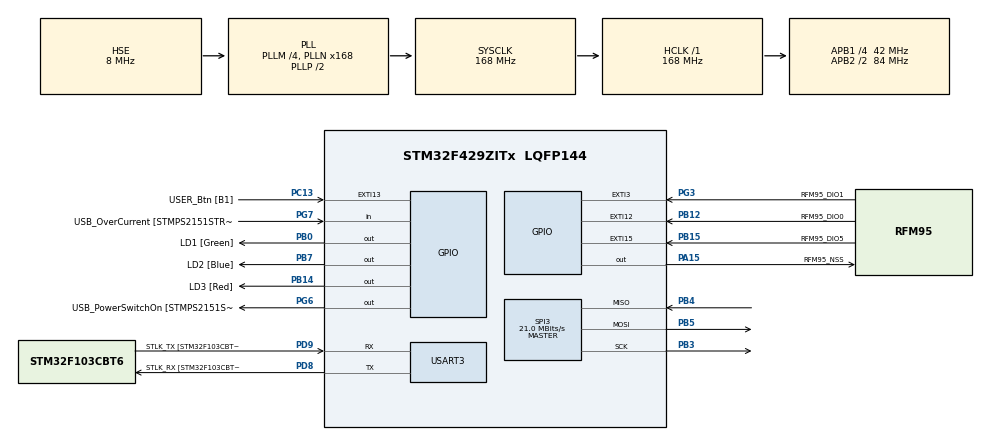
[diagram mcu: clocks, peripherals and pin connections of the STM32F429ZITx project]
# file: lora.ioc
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Mcu.Family=STM32F4
Mcu.Name=STM32F429ZITx
Mcu.Package=LQFP144
NVIC.EXTI15_10_IRQn=true\:0\:0\:false\:false\:true\:true\:true\:true
NVIC.EXTI3_IRQn=true\:0\:0\:false\:false\:true\:true\:true\:true
NVIC.PriorityGroup=NVIC_PRIORITYGROUP_4
NVIC.SPI3_IRQn=true\:0\:0\:false\:false\:true\:true\:true\:true
PA1.GPIO_Label=RMII_REF_CLK [LAN8742A-CZ-TR_REFCLK0]
PA1.Signal=ETH_REF_CLK
PA10.GPIO_Label=USB_ID
PA10.Signal=USB_OTG_FS_ID
PA11.GPIO_Label=USB_DM
PA11.Signal=USB_OTG_FS_DM
PA12.GPIO_Label=USB_DP
PA12.Signal=USB_OTG_FS_DP
PA13.GPIO_Label=TMS
PA13.Mode=Serial_Wire
PA13.Signal=SYS_JTMS-SWDIO
PA14.GPIO_Label=TCK
PA14.Mode=Serial_Wire
PA14.Signal=SYS_JTCK-SWCLK
PA15.GPIO_Label=RFM95_NSS
PA15.Signal=GPIO_Output
PA2.GPIO_Label=RMII_MDIO [LAN8742A-CZ-TR_MDIO]
PA2.Signal=ETH_MDIO
PA7.GPIO_Label=RMII_CRS_DV [LAN8742A-CZ-TR_CRS_DV]
PA7.Signal=ETH_CRS_DV
PA8.GPIO_Label=USB_SOF [TP1]
PA8.Signal=USB_OTG_FS_SOF
PA9.GPIO_Label=USB_VBUS
PA9.Signal=USB_OTG_FS_VBUS
PB0.GPIO_Label=LD1 [Green]
PB0.Signal=GPIO_Output
PB12.GPIO_Label=RFM95_DIO0
PB12.Signal=GPXTI12
PB13.GPIO_Label=RMII_TXD1 [LAN8742A-CZ-TR_TXD1]
PB13.Signal=ETH_TXD1
PB14.GPIO_Label=LD3 [Red]
PB14.Signal=GPIO_Output
PB15.GPIO_Label=RFM95_DIO5
PB15.Signal=GPXTI15
PB3.Mode=Full_Duplex_Master
PB3.Signal=SPI3_SCK
PB4.Mode=Full_Duplex_Master
PB4.Signal=SPI3_MISO
PB5.Mode=Full_Duplex_Master
PB5.Signal=SPI3_MOSI
PB7.GPIO_Label=LD2 [Blue]
PB7.Signal=GPIO_Output
PC1.GPIO_Label=RMII_MDC [LAN8742A-CZ-TR_MDC]
PC1.Signal=ETH_MDC
PC13.GPIO_Label=USER_Btn [B1]
PC13.Signal=GPXTI13
PC14/OSC32_IN.Mode=LSE-External-Oscillator
PC14/OSC32_IN.Signal=RCC_OSC32_IN
PC15/OSC32_OUT.Mode=LSE-External-Oscillator
PC15/OSC32_OUT.Signal=RCC_OSC32_OUT
PC4.GPIO_Label=RMII_RXD0 [LAN8742A-CZ-TR_RXD0]
PC4.Signal=ETH_RXD0
PC5.GPIO_Label=RMII_RXD1 [LAN8742A-CZ-TR_RXD1]
PC5.Signal=ETH_RXD1
PD8.GPIO_Label=STLK_RX [STM32F103CBT6_PA3]
PD8.Mode=Asynchronous
PD8.Signal=USART3_TX
PD9.GPIO_Label=STLK_TX [STM32F103CBT6_PA2]
PD9.Mode=Asynchronous
PD9.Signal=USART3_RX
PG11.GPIO_Label=RMII_TX_EN [LAN8742A-CZ-TR_TXEN]
PG11.Signal=ETH_TX_EN
PG13.GPIO_Label=RMII_TXD0 [LAN8742A-CZ-TR_TXD0]
PG13.Signal=ETH_TXD0
PG3.GPIO_Label=RFM95_DIO1
PG3.Signal=GPXTI3
PG6.GPIO_Label=USB_PowerSwitchOn [STMPS2151STR_EN]
PG6.Signal=GPIO_Output
PG7.GPIO_Label=USB_OverCurrent [STMPS2151STR_FAULT]
PG7.Signal=GPIO_Input
PH0/OSC_IN.GPIO_Label=MCO [STM32F103CBT6_PA8]
PH0/OSC_IN.Mode=HSE-External-Clock-Source
PH0/OSC_IN.Signal=RCC_OSC_IN
PH1/OSC_OUT.Mode=HSE-External-Clock-Source
PH1/OSC_OUT.Signal=RCC_OSC_OUT
ProjectManager.HeapSize=0x200
ProjectManager.StackSize=0x400
ProjectManager.TargetToolchain=STM32CubeIDE
RCC.48MHZClocksFreq_Value=48000000
RCC.AHBFreq_Value=168000000
RCC.APB1CLKDivider=RCC_HCLK_DIV4
RCC.APB1Freq_Value=42000000
RCC.APB1TimFreq_Value=84000000
RCC.APB2CLKDivider=RCC_HCLK_DIV2
RCC.APB2Freq_Value=84000000
RCC.APB2TimCLKDivider=2
RCC.APB2TimFreq_Value=168000000
RCC.CortexFreq_Value=168000000
RCC.HCLKFreq_Value=168000000
RCC.HSE_VALUE=8000000
RCC.HSI_VALUE=16000000
RCC.PLLM=4
RCC.PLLMUL=RCC_PLL_MUL9
RCC.PLLN=168
RCC.PLLQ=7
RCC.PLLSourceVirtual=RCC_PLLSOURCE_HSE
RCC.PRESCALERUSB=RCC_USBCLKSOURCE_PLL_DIV1_5
RCC.SYSCLKFreq_VALUE=168000000
RCC.SYSCLKSource=RCC_SYSCLKSOURCE_PLLCLK
RCC.SYSCLKSourceVirtual=RCC_SYSCLKSOURCE_PLLCLK
RCC.USBFreq_Value=48000000
RCC.VCOOutputFreq_Value=336000000
SPI3.CalculateBaudRate=21.0 MBits/s
SPI3.Direction=SPI_DIRECTION_2LINES
SPI3.Mode=SPI_MODE_MASTER
SPI3.VirtualType=VM_MASTER
TIM2.AutoReloadPreload=TIM_AUTORELOAD_PRELOAD_DISABLE
TIM2.Prescaler=4199
USART3.VirtualMode=VM_ASYNC
VP_RNG_VS_RNG.Mode=RNG_Activate
VP_TIM2_VS_ClockSourceINT.Mode=Internal
board=NUCLEO-F429ZI

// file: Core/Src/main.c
/* USER CODE BEGIN Header */
/**
 ******************************************************************************
 * @file           : main.c
 * @brief          : Main program body
 ******************************************************************************
 * @attention
 *
 * Copyright (c) 2025 STMicroelectronics.
 * All rights reserved.
 *
 * This software is licensed under terms that can be found in the LICENSE file
 * in the root directory of this software component.
 * If no LICENSE file comes with this software, it is provided AS-IS.
 *
 ******************************************************************************
 */
/* USER CODE END Header */
#include "main.h"

/* USER CODE BEGIN Includes */
#include "rfm95.h"
#include <string.h>
#include <stdio.h>
/* USER CODE END Includes */

/* USER CODE BEGIN PD */
#define RFM95_SPI_TIMEOUT 100
/* USER CODE END PD */

RNG_HandleTypeDef hrng;

SPI_HandleTypeDef hspi3;

TIM_HandleTypeDef htim2;

UART_HandleTypeDef huart3;

void SystemClock_Config(void);
static void MX_GPIO_Init(void);
static void MX_USART3_UART_Init(void);
static void MX_SPI3_Init(void);
static void MX_TIM2_Init(void);
static void MX_RNG_Init(void);

/* USER CODE BEGIN 0 */
/* USER CODE BEGIN 0 */
#include "rfm95.h"
#include <string.h>
#include <stdio.h>

extern TIM_HandleTypeDef htim2;
extern SPI_HandleTypeDef hspi3;
extern RNG_HandleTypeDef hrng;

rfm95_handle_t rfm95_handle;

volatile uint8_t send_blocked = 0;
volatile uint32_t send_blocked_until = 0;

/* USER CODE BEGIN 0 */

/* USER CODE BEGIN 0 */

static uint32_t get_precision_tick(void)
{
	return (uint32_t)__HAL_TIM_GET_COUNTER(&htim2);
}

static void precision_sleep_until(uint32_t target_ticks)
{
	while ((int32_t)(get_precision_tick() - (int32_t)target_ticks) < 0) {
		__NOP();
	}
}

static uint8_t random_int(uint8_t max)
{
#ifdef USE_RNG
	uint32_t rnd;
	HAL_RNG_GenerateRandomNumber(&hrng, &rnd);
	return (uint8_t)(rnd % (max + 1));
#else
	return (uint8_t)(HAL_GetTick() % (max + 1));
#endif
}

static uint8_t get_battery_level(void)
{
	return 0xFF;
}
/* USER CODE END 0 */

/* USER CODE END 0 */

int main(void)
{

	/* MCU Configuration--------------------------------------------------------*/

	/* Reset of all peripherals, Initializes the Flash interface and the Systick. */
	HAL_Init();

	/* Configure the system clock */
	SystemClock_Config();

	/* Initialize all configured peripherals */
	MX_GPIO_Init();
	MX_USART3_UART_Init();
	MX_SPI3_Init();
	MX_TIM2_Init();
	MX_RNG_Init();
	/* USER CODE BEGIN 2 */
	/* USER CODE BEGIN 2 */

	/* USER CODE BEGIN 2 */

	HAL_TIM_Base_Start(&htim2);

	memset(&rfm95_handle, 0, sizeof(rfm95_handle));
	rfm95_handle.spi_handle = &hspi3;
	rfm95_handle.nss_port = RFM95_NSS_GPIO_Port;
	rfm95_handle.nss_pin  = RFM95_NSS_Pin;
	rfm95_handle.nrst_port = NULL;
	rfm95_handle.nrst_pin  = 0;

	uint8_t devaddr[4] = { 0x26, 0x0B, 0x04, 0x79 };
	uint8_t nwkSKey[16] = { 0x80, 0x70, 0x52, 0xDA, 0x22, 0x5F, 0x54, 0xC3, 0xB8,
			0xDC, 0xAD, 0xA1, 0x8A, 0xF2, 0x85, 0x34 };
	uint8_t appSKey[16] = { 0x40, 0x0A, 0xE6, 0x65, 0x1A, 0xA8, 0x92, 0x92,
			0x12, 0xC0, 0x08, 0xEC, 0xC2, 0xC1, 0x53, 0x72 };
	memcpy(rfm95_handle.device_address, devaddr, 4);
	memcpy(rfm95_handle.network_session_key, nwkSKey, 16);
	memcpy(rfm95_handle.application_session_key, appSKey, 16);

	rfm95_handle.precision_tick_frequency = 20000;
	rfm95_handle.precision_tick_drift_ns_per_s = 5000;
	rfm95_handle.get_precision_tick = get_precision_tick;
	rfm95_handle.precision_sleep_until = precision_sleep_until;
	rfm95_handle.random_int = random_int;
	rfm95_handle.get_battery_level = get_battery_level;

	if (!rfm95_init(&rfm95_handle)) {

		HAL_GPIO_WritePin(LD3_GPIO_Port, LD3_Pin, GPIO_PIN_SET);
		while (1) { HAL_Delay(1000); }
	}
	/* USER CODE END 2 */

	/* USER CODE END 2 */

	/* Infinite loop */

	/* USER CODE BEGIN 3 */
	/* USER CODE BEGIN WHILE */
	/* USER CODE BEGIN WHILE */
	char txbuf[64];
	uint32_t last_send_ms = HAL_GetTick();
	uint32_t counter = 0;

	uint32_t last_button_ms = 0;
	const uint32_t BUTTON_DEBOUNCE_MS = 200;

	while (1)
	{
		uint32_t now = HAL_GetTick();

		/* Send every 30 seconds */
		if (!send_blocked && (now - last_send_ms >= 30000U)) {
			last_send_ms = now;
			counter++;
			int len = snprintf(txbuf, sizeof(txbuf), "vutid;%lu", (unsigned long)counter);

			/* Light LD2 during TX */
			HAL_GPIO_WritePin(LD2_GPIO_Port, LD2_Pin, GPIO_PIN_SET);
			bool ok = rfm95_send_receive_cycle(&rfm95_handle, (uint8_t*)txbuf, (uint8_t)len);
			HAL_GPIO_WritePin(LD2_GPIO_Port, LD2_Pin, GPIO_PIN_RESET);

			if (!ok) {
				/* blink LD3 to show failure */
				for (int i=0; i<3; ++i) {
					HAL_GPIO_TogglePin(LD3_GPIO_Port, LD3_Pin);
					HAL_Delay(150);
				}
				HAL_GPIO_WritePin(LD3_GPIO_Port, LD3_Pin, GPIO_PIN_RESET);
			}
		}

		if (HAL_GPIO_ReadPin(USER_Btn_GPIO_Port, USER_Btn_Pin) == GPIO_PIN_RESET) {

		    if (HAL_GetTick() - last_button_ms > BUTTON_DEBOUNCE_MS) {

		        last_button_ms = HAL_GetTick();

		        int len = snprintf(txbuf, sizeof(txbuf), "vutid;press");

		        HAL_GPIO_WritePin(LD2_GPIO_Port, LD2_Pin, GPIO_PIN_SET);
		        rfm95_send_receive_cycle(&rfm95_handle, (uint8_t*)txbuf, (uint8_t)len);
		        HAL_GPIO_WritePin(LD2_GPIO_Port, LD2_Pin, GPIO_PIN_RESET);

		        send_blocked = 1;
		        send_blocked_until = HAL_GetTick() + 5000U;
		    }
		}

		if (send_blocked && HAL_GetTick() >= send_blocked_until) send_blocked = 0;

		HAL_Delay(10);
	}
	/* USER CODE END WHILE */

	/* USER CODE END WHILE */

	/* USER CODE END 3 */
}

void SystemClock_Config(void)
{
	RCC_OscInitTypeDef RCC_OscInitStruct = {0};
	RCC_ClkInitTypeDef RCC_ClkInitStruct = {0};

	/** Configure the main internal regulator output voltage
	 */
	__HAL_RCC_PWR_CLK_ENABLE();
	__HAL_PWR_VOLTAGESCALING_CONFIG(PWR_REGULATOR_VOLTAGE_SCALE1);

	/** Initializes the RCC Oscillators according to the specified parameters
	 * in the RCC_OscInitTypeDef structure.
	 */
	RCC_OscInitStruct.OscillatorType = RCC_OSCILLATORTYPE_HSE;
	RCC_OscInitStruct.HSEState = RCC_HSE_BYPASS;
	RCC_OscInitStruct.PLL.PLLState = RCC_PLL_ON;
	RCC_OscInitStruct.PLL.PLLSource = RCC_PLLSOURCE_HSE;
	RCC_OscInitStruct.PLL.PLLM = 4;
	RCC_OscInitStruct.PLL.PLLN = 168;
	RCC_OscInitStruct.PLL.PLLP = RCC_PLLP_DIV2;
	RCC_OscInitStruct.PLL.PLLQ = 7;
	if (HAL_RCC_OscConfig(&RCC_OscInitStruct) != HAL_OK)
	{
		Error_Handler();
	}

	/** Initializes the CPU, AHB and APB buses clocks
	 */
	RCC_ClkInitStruct.ClockType = RCC_CLOCKTYPE_HCLK|RCC_CLOCKTYPE_SYSCLK
			|RCC_CLOCKTYPE_PCLK1|RCC_CLOCKTYPE_PCLK2;
	RCC_ClkInitStruct.SYSCLKSource = RCC_SYSCLKSOURCE_PLLCLK;
	RCC_ClkInitStruct.AHBCLKDivider = RCC_SYSCLK_DIV1;
	RCC_ClkInitStruct.APB1CLKDivider = RCC_HCLK_DIV4;
	RCC_ClkInitStruct.APB2CLKDivider = RCC_HCLK_DIV2;

	if (HAL_RCC_ClockConfig(&RCC_ClkInitStruct, FLASH_LATENCY_5) != HAL_OK)
	{
		Error_Handler();
	}
}

static void MX_RNG_Init(void)
{

	hrng.Instance = RNG;
	if (HAL_RNG_Init(&hrng) != HAL_OK)
	{
		Error_Handler();
	}

}

static void MX_SPI3_Init(void)
{

	/* SPI3 parameter configuration*/
	hspi3.Instance = SPI3;
	hspi3.Init.Mode = SPI_MODE_MASTER;
	hspi3.Init.Direction = SPI_DIRECTION_2LINES;
	hspi3.Init.DataSize = SPI_DATASIZE_8BIT;
	hspi3.Init.CLKPolarity = SPI_POLARITY_LOW;
	hspi3.Init.CLKPhase = SPI_PHASE_1EDGE;
	hspi3.Init.NSS = SPI_NSS_SOFT;
	hspi3.Init.BaudRatePrescaler = SPI_BAUDRATEPRESCALER_2;
	hspi3.Init.FirstBit = SPI_FIRSTBIT_MSB;
	hspi3.Init.TIMode = SPI_TIMODE_DISABLE;
	hspi3.Init.CRCCalculation = SPI_CRCCALCULATION_DISABLE;
	hspi3.Init.CRCPolynomial = 10;
	if (HAL_SPI_Init(&hspi3) != HAL_OK)
	{
		Error_Handler();
	}

}

static void MX_TIM2_Init(void)
{

	TIM_ClockConfigTypeDef sClockSourceConfig = {0};
	TIM_MasterConfigTypeDef sMasterConfig = {0};

	htim2.Instance = TIM2;
	htim2.Init.Prescaler = 4199;
	htim2.Init.CounterMode = TIM_COUNTERMODE_UP;
	htim2.Init.Period = 65535;
	htim2.Init.ClockDivision = TIM_CLOCKDIVISION_DIV1;
	htim2.Init.AutoReloadPreload = TIM_AUTORELOAD_PRELOAD_DISABLE;
	if (HAL_TIM_Base_Init(&htim2) != HAL_OK)
	{
		Error_Handler();
	}
	sClockSourceConfig.ClockSource = TIM_CLOCKSOURCE_INTERNAL;
	if (HAL_TIM_ConfigClockSource(&htim2, &sClockSourceConfig) != HAL_OK)
	{
		Error_Handler();
	}
	sMasterConfig.MasterOutputTrigger = TIM_TRGO_RESET;
	sMasterConfig.MasterSlaveMode = TIM_MASTERSLAVEMODE_DISABLE;
	if (HAL_TIMEx_MasterConfigSynchronization(&htim2, &sMasterConfig) != HAL_OK)
	{
		Error_Handler();
	}

}

static void MX_USART3_UART_Init(void)
{

	huart3.Instance = USART3;
	huart3.Init.BaudRate = 115200;
	huart3.Init.WordLength = UART_WORDLENGTH_8B;
	huart3.Init.StopBits = UART_STOPBITS_1;
	huart3.Init.Parity = UART_PARITY_NONE;
	huart3.Init.Mode = UART_MODE_TX_RX;
	huart3.Init.HwFlowCtl = UART_HWCONTROL_NONE;
	huart3.Init.OverSampling = UART_OVERSAMPLING_16;
	if (HAL_UART_Init(&huart3) != HAL_OK)
	{
		Error_Handler();
	}

}

static void MX_GPIO_Init(void)
{
	GPIO_InitTypeDef GPIO_InitStruct = {0};

	/* GPIO Ports Clock Enable */
	__HAL_RCC_GPIOC_CLK_ENABLE();
	__HAL_RCC_GPIOH_CLK_ENABLE();
	__HAL_RCC_GPIOA_CLK_ENABLE();
	__HAL_RCC_GPIOB_CLK_ENABLE();
	__HAL_RCC_GPIOD_CLK_ENABLE();
	__HAL_RCC_GPIOG_CLK_ENABLE();

	/*Configure GPIO pin Output Level */
	HAL_GPIO_WritePin(GPIOB, LD1_Pin|LD3_Pin|LD2_Pin, GPIO_PIN_RESET);

	/*Configure GPIO pin Output Level */
	HAL_GPIO_WritePin(USB_PowerSwitchOn_GPIO_Port, USB_PowerSwitchOn_Pin, GPIO_PIN_RESET);

	/*Configure GPIO pin Output Level */
	HAL_GPIO_WritePin(RFM95_NSS_GPIO_Port, RFM95_NSS_Pin, GPIO_PIN_RESET);

	/*Configure GPIO pin : USER_Btn_Pin */
	GPIO_InitStruct.Pin = USER_Btn_Pin;
	GPIO_InitStruct.Mode = GPIO_MODE_IT_RISING;
	GPIO_InitStruct.Pull = GPIO_NOPULL;
	HAL_GPIO_Init(USER_Btn_GPIO_Port, &GPIO_InitStruct);

	/*Configure GPIO pins : RMII_MDC_Pin RMII_RXD0_Pin RMII_RXD1_Pin */
	GPIO_InitStruct.Pin = RMII_MDC_Pin|RMII_RXD0_Pin|RMII_RXD1_Pin;
	GPIO_InitStruct.Mode = GPIO_MODE_AF_PP;
	GPIO_InitStruct.Pull = GPIO_NOPULL;
	GPIO_InitStruct.Speed = GPIO_SPEED_FREQ_VERY_HIGH;
	GPIO_InitStruct.Alternate = GPIO_AF11_ETH;
	HAL_GPIO_Init(GPIOC, &GPIO_InitStruct);

	/*Configure GPIO pins : RMII_REF_CLK_Pin RMII_MDIO_Pin RMII_CRS_DV_Pin */
	GPIO_InitStruct.Pin = RMII_REF_CLK_Pin|RMII_MDIO_Pin|RMII_CRS_DV_Pin;
	GPIO_InitStruct.Mode = GPIO_MODE_AF_PP;
	GPIO_InitStruct.Pull = GPIO_NOPULL;
	GPIO_InitStruct.Speed = GPIO_SPEED_FREQ_VERY_HIGH;
	GPIO_InitStruct.Alternate = GPIO_AF11_ETH;
	HAL_GPIO_Init(GPIOA, &GPIO_InitStruct);

	/*Configure GPIO pins : LD1_Pin LD3_Pin LD2_Pin */
	GPIO_InitStruct.Pin = LD1_Pin|LD3_Pin|LD2_Pin;
	GPIO_InitStruct.Mode = GPIO_MODE_OUTPUT_PP;
	GPIO_InitStruct.Pull = GPIO_NOPULL;
	GPIO_InitStruct.Speed = GPIO_SPEED_FREQ_LOW;
	HAL_GPIO_Init(GPIOB, &GPIO_InitStruct);

	/*Configure GPIO pins : RFM95_DIO0_Pin RFM95_DIO5_Pin */
	GPIO_InitStruct.Pin = RFM95_DIO0_Pin|RFM95_DIO5_Pin;
	GPIO_InitStruct.Mode = GPIO_MODE_IT_RISING;
	GPIO_InitStruct.Pull = GPIO_NOPULL;
	HAL_GPIO_Init(GPIOB, &GPIO_InitStruct);

	/*Configure GPIO pin : RMII_TXD1_Pin */
	GPIO_InitStruct.Pin = RMII_TXD1_Pin;
	GPIO_InitStruct.Mode = GPIO_MODE_AF_PP;
	GPIO_InitStruct.Pull = GPIO_NOPULL;
	GPIO_InitStruct.Speed = GPIO_SPEED_FREQ_VERY_HIGH;
	GPIO_InitStruct.Alternate = GPIO_AF11_ETH;
	HAL_GPIO_Init(RMII_TXD1_GPIO_Port, &GPIO_InitStruct);

	/*Configure GPIO pin : RFM95_DIO1_Pin */
	GPIO_InitStruct.Pin = RFM95_DIO1_Pin;
	GPIO_InitStruct.Mode = GPIO_MODE_IT_RISING;
	GPIO_InitStruct.Pull = GPIO_NOPULL;
	HAL_GPIO_Init(RFM95_DIO1_GPIO_Port, &GPIO_InitStruct);

	/*Configure GPIO pin : USB_PowerSwitchOn_Pin */
	GPIO_InitStruct.Pin = USB_PowerSwitchOn_Pin;
	GPIO_InitStruct.Mode = GPIO_MODE_OUTPUT_PP;
	GPIO_InitStruct.Pull = GPIO_NOPULL;
	GPIO_InitStruct.Speed = GPIO_SPEED_FREQ_LOW;
	HAL_GPIO_Init(USB_PowerSwitchOn_GPIO_Port, &GPIO_InitStruct);

	/*Configure GPIO pin : USB_OverCurrent_Pin */
	GPIO_InitStruct.Pin = USB_OverCurrent_Pin;
	GPIO_InitStruct.Mode = GPIO_MODE_INPUT;
	GPIO_InitStruct.Pull = GPIO_NOPULL;
	HAL_GPIO_Init(USB_OverCurrent_GPIO_Port, &GPIO_InitStruct);

	/*Configure GPIO pins : USB_SOF_Pin USB_ID_Pin USB_DM_Pin USB_DP_Pin */
	GPIO_InitStruct.Pin = USB_SOF_Pin|USB_ID_Pin|USB_DM_Pin|USB_DP_Pin;
	GPIO_InitStruct.Mode = GPIO_MODE_AF_PP;
	GPIO_InitStruct.Pull = GPIO_NOPULL;
	GPIO_InitStruct.Speed = GPIO_SPEED_FREQ_VERY_HIGH;
	GPIO_InitStruct.Alternate = GPIO_AF10_OTG_FS;
	HAL_GPIO_Init(GPIOA, &GPIO_InitStruct);

	/*Configure GPIO pin : USB_VBUS_Pin */
	GPIO_InitStruct.Pin = USB_VBUS_Pin;
	GPIO_InitStruct.Mode = GPIO_MODE_INPUT;
	GPIO_InitStruct.Pull = GPIO_NOPULL;
	HAL_GPIO_Init(USB_VBUS_GPIO_Port, &GPIO_InitStruct);

	/*Configure GPIO pin : RFM95_NSS_Pin */
	GPIO_InitStruct.Pin = RFM95_NSS_Pin;
	GPIO_InitStruct.Mode = GPIO_MODE_OUTPUT_PP;
	GPIO_InitStruct.Pull = GPIO_NOPULL;
	GPIO_InitStruct.Speed = GPIO_SPEED_FREQ_LOW;
	HAL_GPIO_Init(RFM95_NSS_GPIO_Port, &GPIO_InitStruct);

	/*Configure GPIO pins : RMII_TX_EN_Pin RMII_TXD0_Pin */
	GPIO_InitStruct.Pin = RMII_TX_EN_Pin|RMII_TXD0_Pin;
	GPIO_InitStruct.Mode = GPIO_MODE_AF_PP;
	GPIO_InitStruct.Pull = GPIO_NOPULL;
	GPIO_InitStruct.Speed = GPIO_SPEED_FREQ_VERY_HIGH;
	GPIO_InitStruct.Alternate = GPIO_AF11_ETH;
	HAL_GPIO_Init(GPIOG, &GPIO_InitStruct);

	/* EXTI interrupt init*/
	HAL_NVIC_SetPriority(EXTI3_IRQn, 0, 0);
	HAL_NVIC_EnableIRQ(EXTI3_IRQn);

	HAL_NVIC_SetPriority(EXTI15_10_IRQn, 0, 0);
	HAL_NVIC_EnableIRQ(EXTI15_10_IRQn);

}

/* USER CODE BEGIN 4 */
/* USER CODE BEGIN 4 */
void HAL_GPIO_EXTI_Callback(uint16_t GPIO_Pin)
{
	if (GPIO_Pin == RFM95_DIO0_Pin) {
		rfm95_on_interrupt(&rfm95_handle, RFM95_INTERRUPT_DIO0);
	} else if (GPIO_Pin == RFM95_DIO1_Pin) {
		rfm95_on_interrupt(&rfm95_handle, RFM95_INTERRUPT_DIO1);
	} else if (GPIO_Pin == RFM95_DIO5_Pin) {
		rfm95_on_interrupt(&rfm95_handle, RFM95_INTERRUPT_DIO5);
	}
}
/* USER CODE END 4 */

/* USER CODE END 4 */

void Error_Handler(void)
{
	__disable_irq();
	while (1)
	{
	}
}
